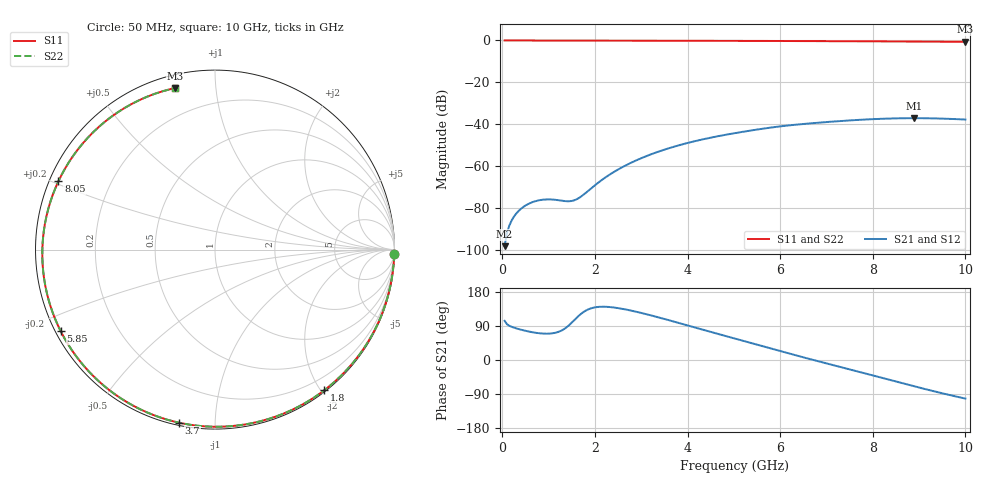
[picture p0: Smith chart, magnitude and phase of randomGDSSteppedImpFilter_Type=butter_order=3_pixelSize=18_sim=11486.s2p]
! freq	dB(S11)	phase(S11)	dB(S12)	phase(S12)
!  dB(S21)	phase(S21)	dB(S22)	phase(S22)
!S-par simulation data
#  GHz  S  DB  R 50
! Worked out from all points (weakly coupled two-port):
!   200 points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, 50 MHz to 10 GHz, reference 50 ohm
!   highest |S21| = -37.01 dB at 8.9 GHz (marker M1); lowest = -98.0 dB at 50 MHz (marker M2)
!   lowest |S11| = -0.7 dB at 10 GHz (marker M3), VSWR 26.41, Z = 3.05 + j39.1 ohm
!   |S11| at or under -10 dB: nowhere
!   |S22| runs from -0.7 to 0.0 dB; largest |S21 - S12| = 0
!   S11 on the Smith chart (normalised r, x): 50 MHz: 2, -80; 1.8 GHz: 0.02, -2.04; 3.7 GHz: 0.01, -0.81; 5.85 GHz: 0.01, -0.25; 8.05 GHz: 0.03, +0.21; 10 GHz: 0.06, +0.78
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0.05  -0.00 -1.4  -97.96 103.4  -97.96 103.4  -0.00 -1.4
0.4  -0.02 -11.8  -80.22 80.0  -80.22 80.0  -0.02 -11.8
0.65  -0.03 -19.2  -77.01 73.2  -77.01 73.2  -0.03 -19.2
0.9  -0.03 -26.5  -75.78 69.6  -75.78 69.6  -0.03 -26.5
1.5  -0.05 -43.8  -76.43 98.5  -76.43 98.5  -0.05 -43.7
1.75  -0.06 -50.8  -73.51 126.4  -73.51 126.4  -0.06 -50.8
1.8  -0.07 -52.2  -72.62 130.2  -72.62 130.2  -0.07 -52.1
2.15  -0.08 -61.8  -66.43 140.6  -66.43 140.6  -0.08 -61.8
2.5  -0.09 -71.2  -61.45 137.0  -61.45 137.0  -0.09 -71.1
2.9  -0.10 -81.6  -57.02 127.1  -57.02 127.1  -0.10 -81.6
3.4  -0.12 -94.3  -52.74 111.6  -52.74 111.6  -0.12 -94.3
3.7  -0.13 -101.8  -50.64 101.6  -50.64 101.6  -0.13 -101.7
4.35  -0.16 -117.4  -46.99 79.3  -46.99 79.3  -0.16 -117.4
5.05  -0.19 -133.8  -44.03 55.7  -44.03 55.7  -0.19 -133.7
5.85  -0.24 -152.1  -41.33 29.1  -41.33 29.1  -0.24 -152.0
6.7  -0.31 -171.5  -39.39 0.6  -39.39 0.6  -0.31 -171.5
7.4  -0.37 172.2  -38.23 -21.5  -38.23 -21.5  -0.37 172.2
8.05  -0.43 156.4  -37.43 -42.3  -37.43 -42.3  -0.43 156.5
8.35  -0.46 148.9  -37.19 -51.9  -37.19 -51.9  -0.46 149.0
8.9  -0.52 134.7  -37.01 -69.5  -37.01 -69.5  -0.52 134.7
9.5  -0.59 118.3  -37.22 -87.9  -37.22 -87.9  -0.59 118.3
10  -0.66 103.9  -37.66 -101.8  -37.66 -101.8  -0.66 103.8
